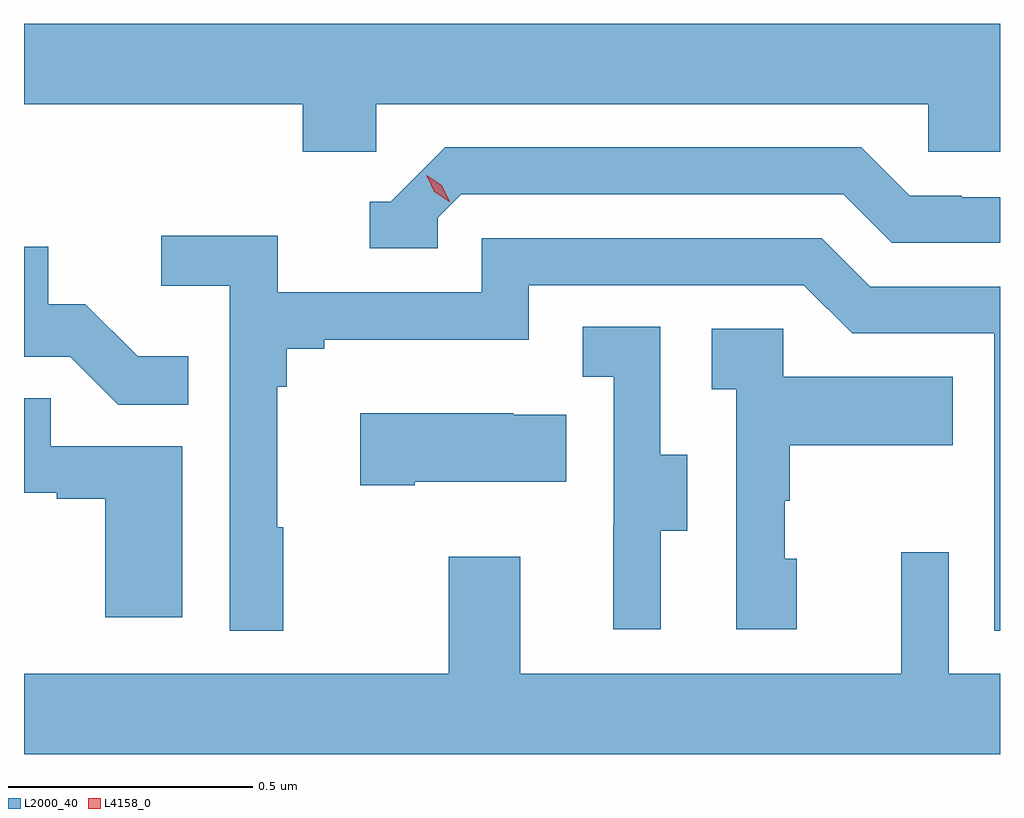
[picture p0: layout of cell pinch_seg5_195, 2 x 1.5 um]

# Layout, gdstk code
import gdstk
lib = gdstk.Library(unit=1e-6, precision=1e-09)
def P(c, l, *ps):  # polygons
    for p in ps: c.add(gdstk.Polygon(p, *l))
L2000_40 = (2000, 40)
L4158_0 = (4158, 0)

pinch_seg5_195 = lib.new_cell('pinch_seg5_195')
P(pinch_seg5_195, L2000_40, [(987.3,906.044),(988.431,906.044),(988.431,905.946),(988.578,905.946),(988.578,906.208),(986.578,906.208),(986.578,906.044),(987.149,906.044),(987.149,905.946),(987.3,905.946)],
  [(987.426,905.811),(987.474,905.859),(988.257,905.859),(988.356,905.76),(988.578,905.76),(988.578,905.853),(988.5,905.853),(988.5,905.856),(988.393,905.856),(988.294,905.955),(987.441,905.955),(987.33,905.844),(987.287,905.844),(987.287,905.748),(987.426,905.748)],
  [(987.109,905.177),(987.097,905.177),(987.097,905.465),(987.116,905.465),(987.116,905.542),(987.193,905.542),(987.193,905.561),(987.612,905.561),(987.612,905.673),(988.176,905.673),(988.275,905.574),(988.566,905.574),(988.566,904.965),(988.578,904.965),(988.578,905.67),(988.312,905.67),(988.213,905.769),(987.516,905.769),(987.516,905.658),(987.098,905.658),(987.098,905.774),(986.859,905.774),(986.859,905.672),(987,905.672),(987,904.965),(987.109,904.965)],
  [(986.915,905.527),(986.811,905.527),(986.704,905.634),(986.628,905.634),(986.628,905.751),(986.578,905.751),(986.578,905.526),(986.673,905.526),(986.771,905.428),(986.915,905.428)],
  [(987.883,905.17),(987.937,905.17),(987.937,905.325),(987.882,905.325),(987.882,905.588),(987.723,905.588),(987.723,905.485),(987.786,905.485),(987.786,905.181),(987.785,905.181),(987.785,904.968),(987.883,904.968)],
  [(988.162,905.112),(988.137,905.112),(988.137,905.231),(988.147,905.231),(988.147,905.345),(988.481,905.345),(988.481,905.485),(988.134,905.485),(988.134,905.583),(987.987,905.583),(987.987,905.459),(988.038,905.459),(988.038,904.968),(988.162,904.968)],
  [(986.902,905.343),(986.633,905.343),(986.633,905.441),(986.578,905.441),(986.578,905.247),(986.645,905.247),(986.645,905.235),(986.744,905.235),(986.744,904.992),(986.902,904.992)],
  [(987.379,905.27),(987.689,905.27),(987.689,905.407),(987.581,905.407),(987.581,905.41),(987.267,905.41),(987.267,905.263),(987.379,905.263)],
  [(988.578,904.876),(988.473,904.876),(988.473,905.125),(988.376,905.125),(988.376,904.876),(987.595,904.876),(987.595,905.116),(987.448,905.116),(987.448,904.876),(986.578,904.876),(986.578,904.712),(988.578,904.712)])
P(pinch_seg5_195, L4158_0, [(987.449,905.844),(987.419,905.864),(987.403,905.897),(987.403,905.898),(987.403,905.898),(987.434,905.878),(987.45,905.844),(987.45,905.844)])

lib.write_gds('pinch_seg5_195.gds')
